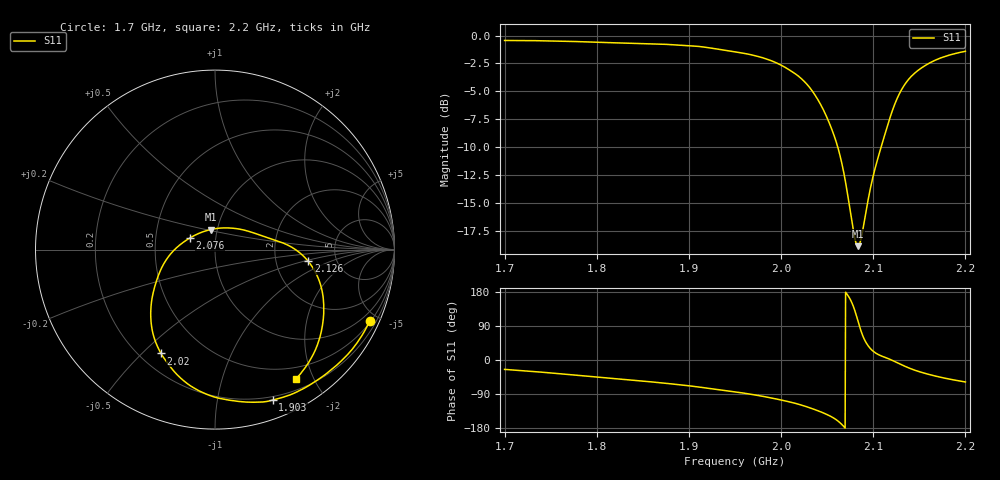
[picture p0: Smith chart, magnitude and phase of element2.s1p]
# Hz S RI R 50
! CMT, CMT808U, 21440046, 21.4.3/4
! Date: 12/1/2025 1:22:18 PM
! Data: Format (Calibration Info)
! Freq	S11:Re/Im(F2)
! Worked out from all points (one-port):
!   1001 points, 1.7 GHz to 2.2 GHz, reference 50 ohm
!   lowest |S11| = -18.8 dB at 2.083 GHz (marker M1), VSWR 1.26, Z = 46.5 + j10.5 ohm
!   |S11| at or under -10 dB: 2.062 GHz to 2.108 GHz (46.87 MHz wide, 2.25 % of centre)
!   S11 on the Smith chart (normalised r, x): 1.7 GHz: 0.55, -4.49; 1.903 GHz: 0.17, -1.44; 2.02 GHz: 0.28, -0.57; 2.076 GHz: 0.75, +0.10; 2.126 GHz: 3.09, -0.55; 2.2 GHz: 0.34, -1.76
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1.7e9  0.863 -0.398
1.7625e9  0.7559 -0.5656
1.825e9  0.5912 -0.7127
1.8875e9  0.3873 -0.8198
1.9035e9  0.3206 -0.8385
1.95e9  0.0884 -0.8403
1.967e9  -0.00465 -0.821
1.984e9  -0.1039 -0.7788
1.998e9  -0.1861 -0.7207
2.0125e9  -0.2631 -0.6342
2.02e9  -0.3009 -0.5786
2.038e9  -0.3568 -0.395
2.055e9  -0.3308 -0.1894
2.0655e9  -0.2681 -0.0517
2.075e9  -0.1547 0.0556
2.076e9  -0.1407 0.0644
2.0805e9  -0.0728 0.0971
2.0835e9  -0.0244 0.1117
2.0875e9  0.041 0.1206
2.0965e9  0.1738 0.1057
2.103e9  0.251 0.0806
2.1165e9  0.4073 0.0242
2.126e9  0.5195 -0.0653
2.1375e9  0.5929 -0.2138
2.1505e9  0.605 -0.3668
2.1675e9  0.5733 -0.5235
2.1835e9  0.5179 -0.6351
2.2e9  0.4507 -0.7207
